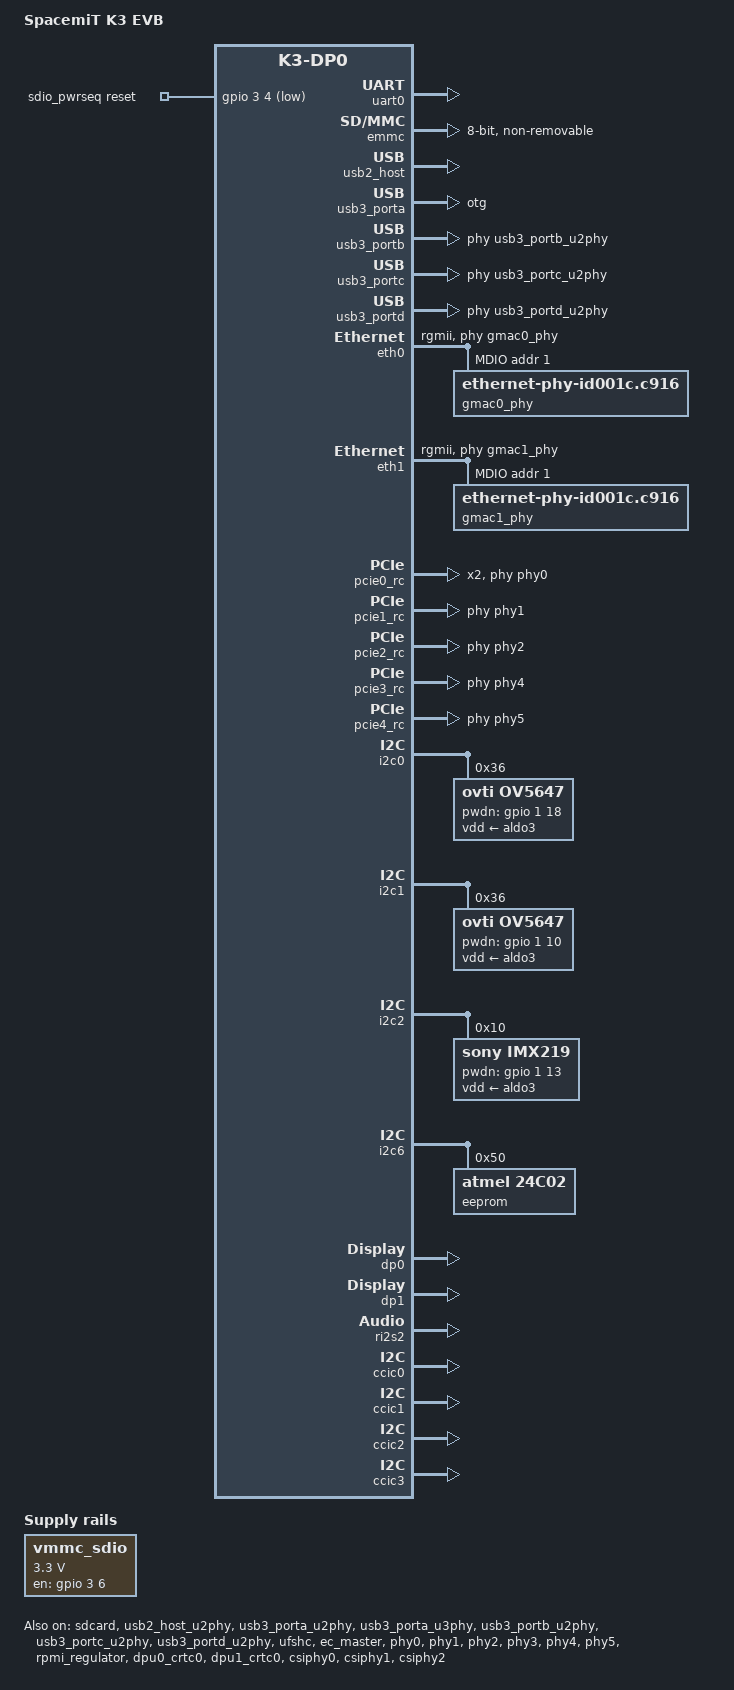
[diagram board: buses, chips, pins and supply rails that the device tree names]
// SPDX-License-Identifier: (GPL-2.0 OR MIT)
/* Copyright (c) 2025 Spacemit, Inc */

#include "k3.dtsi"
#include "k3-rdomain.dtsi"
#include "k3-pinctrl.dtsi"
#include "k3_opp_table.dtsi"
#include "lcd_dsi_panel.dtsi"
#include "lcd/lcd_icnl9911c_mipi.dtsi"
#include "k3-dp0.dtsi"
#include "k3-dp1.dtsi"
#include "k3-camera.dtsi"

/ {
	model = "SpacemiT K3 EVB";
	compatible = "spacemit,k3-evb";
	cpus: cpus {
		#address-cells = <1>;
		#size-cells = <0>;
		timebase-frequency = <24000000>;
	};

/*
	p12v: p12v {
		compatible = "regulator-fixed";
		regulator-name = "p12v";
		regulator-always-on;
		regulator-boot-on;
		regulator-min-microvolt = <12000000>;
		regulator-max-microvolt = <12000000>;
		status = "disabled";
	};

	p5v: p5v {
		compatible = "regulator-fixed";
		regulator-name = "p5v";
		regulator-always-on;
		regulator-boot-on;
		regulator-min-microvolt = <5000000>;
		regulator-max-microvolt = <5000000>;
		vin-supply = <&p12v>;
		status = "disabled";
	};

	p4v: p4v {
		compatible = "regulator-fixed";
		regulator-name = "p4v";
		regulator-always-on;
		regulator-boot-on;
		regulator-min-microvolt = <4000000>;
		regulator-max-microvolt = <4000000>;
		vin-supply = <&p12v>;
		status = "disabled";
	};

	p1v8: p1v8 {
		compatible = "regulator-fixed";
		regulator-name = "p1v8";
		regulator-always-on;
		regulator-boot-on;
		regulator-min-microvolt = <1800000>;
		regulator-max-microvolt = <1800000>;
		vin-supply = <&p12v>;
		status = "disabled";
	};

	p3v3: p3v3 {
		compatible = "regulator-fixed";
		regulator-name = "p3v3";
		regulator-always-on;
		regulator-boot-on;
		regulator-min-microvolt = <3300000>;
		regulator-max-microvolt = <3300000>;
		vin-supply = <&p12v>;
		status = "disabled";
	};
*/
	chosen {
		bootargs = "earlycon=sbi console=ttyS0,115200 loglevel=8 random.trust_bootloader=1 unaligned_scalar_speed=fast unaligned_vector_speed=fast";
		rng-seed = <0x25d69b2 0xff555073 0xd23238ea 0x57aa5455 0x792478ed 0xa744f28e 0x6ba4fc54 0xa2bf20fc>;
		stdout-path = "serial0:115200";
	};

	vmmc_sdio: regulator-vmmc-sdio {
		compatible = "regulator-fixed";
		regulator-name = "vmmc-sdio";
		regulator-min-microvolt = <3300000>;
		regulator-max-microvolt = <3300000>;
		enable-active-high;
		gpio = <&gpio 3 6 GPIO_ACTIVE_HIGH>;
	};

	sdio_pwrseq: sdio-pwrseq {
		compatible = "mmc-pwrseq-simple";

		reset-gpios = <&gpio 3 4 GPIO_ACTIVE_LOW>;
	};
};

&resmem {
	/* global autoconfigured region for contiguous allocations */
	cmamem: linux,cma {
		compatible = "shared-dma-pool";
		reusable;
		size = <0 0x20000000>;
		alloc-ranges = <1 0x40000000 0 0x20000000>;
		linux,cma-default;
	};
};

&pinctrl {
	i2c0-2-cfg {
		i2c0-0-pins {
			power-source = <1800>;
		};
	};

	i2c1-1-cfg {
		i2c1-0-pins {
			power-source = <1800>;
		};
	};

	i2c2-1-cfg {
		i2c2-0-pins {
			power-source = <1800>;
		};
	};

	i2c3-2-cfg {
		i2c3-0-pins {
			power-source = <3300>;
		};
	};

	i2c6-0-cfg {
		i2c6-0-pins {
			power-source = <1800>;
		};
	};

	uart2-0-cfg {
		uart2-0-pins {
			power-source = <1800>;
		};
	};

	ssp0-2-cfg  {
		ssp0-0-pins {
			power-source = <3300>;
		};

		ssp0-1-pins {
			power-source = <3300>;
		};
	};

	usb20_host_drv-3-cfg {
		usb20_host_drv-pins {
			power-source  = <1800>;
		};
	};

	usb30_drd-id-vbus-cfg {
		usb30_drd-pins {
			pinmux = <K3_PADCONF(116, 2)>,	/* usb30 drd id */
				 <K3_PADCONF(117, 2)>;	/* usb30 drd vbuson */

			bias-pull-down;			/* normal pull-down */
			drive-strength = <47>;		/* DS8 */
		};
	};

	gmac0-cfg {
		/delete-node/ gmac0-2-pins;
		/delete-node/ gmac0-4-pins;
		/delete-node/ gmac0-5-pins;

		gmac0-0-pins {
			power-source = <1800>;
		};

		gmac0-1-pins {
			power-source = <1800>;
		};

		gmac0-3-pins {
			power-source = <1800>;
		};

		gmac0-6-pins {
			pinmux = <K3_PADCONF(15, 0)>;

			bias-disable;
			drive-strength = <25>;
			power-source = <1800>;
		};
	};

	gmac1-cfg {
		/delete-node/ gmac1-2-pins;
		/delete-node/ gmac1-4-pins;
		/delete-node/ gmac1-5-pins;

		gmac1-0-pins {
			power-source = <1800>;
		};

		gmac1-1-pins {
			power-source = <1800>;
		};

		gmac1-3-pins {
			power-source = <1800>;
		};

		gmac1-6-pins {
			pinmux = <K3_PADCONF(37, 0)>;

			bias-disable;
			drive-strength = <25>;
			power-source = <1800>;
		};
	};

	gmac2-cfg {
		/delete-node/ gmac2-3-pins;
		/delete-node/ gmac2-4-pins;

		gmac2-0-pins {
			power-source = <1800>;
		};

		gmac2-1-pins {
			power-source = <1800>;
		};

		gmac2-2-pins {
			power-source = <1800>;
		};

		gmac2-5-pins {
			pinmux = <K3_PADCONF(58, 0)>;

			bias-disable;
			drive-strength = <25>;
			power-source = <1800>;
		};
	};

	gmac3-cfg {
		/delete-node/ gmac3-3-pins;
		/delete-node/ gmac3-4-pins;

		gmac3-0-pins {
			power-source = <1800>;
		};

		gmac3-1-pins {
			power-source = <1800>;
		};

		gmac3-2-pins {
			power-source = <1800>;
		};

		gmac3-5-pins {
			pinmux = <K3_PADCONF(75, 0)>;

			bias-disable;
			drive-strength = <25>;
			power-source = <1800>;
		};
	};

	mmc2-cfg {
		mmc2-0-pins {
			power-source = <1800>;
		};

		mmc2-1-pins {
			power-source = <1800>;
		};
	};

	pcie0-1-cfg {
		pcie0-0-pins {
			bias-pull-up = <1>;		/* pull up */
			drive-strength = <38>;		/* DS15 */
			power-source = <3300>;
		};
	};

	pcie1-1-cfg {
		pcie1-0-pins {
			bias-pull-up;			/* pull up */
			drive-strength = <38>;		/* DS15 */
			power-source = <3300>;
		};
	};

	pcie2-2-cfg {
		pcie2-0-pins {
			bias-pull-up;			/* pull up  */
			drive-strength = <33>;		/* DS15 */
			power-source = <1800>;
		};
	};

	pcie3-1-cfg {
		pcie3-0-pins {
			bias-pull-up;			/* pull up  */
			drive-strength = <33>;		/* DS15 */
			power-source = <1800>;
		};
	};

	pcie4-1-cfg {
		pcie4-0-pins {
			bias-pull-up;			/* pull up */
			drive-strength = <38>;		/* DS15 */
			power-source = <3300>;
		};
	};
};

&uart0 {
	pinctrl-names = "default";
	pinctrl-0 = <&uart0_0_cfg>;
	status = "okay";
};

&uart2 {
	pinctrl-names = "default";
	pinctrl-0 = <&uart2_0_cfg>;
	status = "disabled";

	bluetooth {
		compatible = "realtek,rtl8852bs-bt";
		device-wake-gpios = <&gpio 2 30 GPIO_ACTIVE_HIGH>;
		enable-gpios = <&gpio 2 29 GPIO_ACTIVE_HIGH>;
		host-wake-gpios = <&gpio 2 28 GPIO_ACTIVE_HIGH>;
	};
};

&qspi {
	status = "disabled";
};

&sdcard {
	pinctrl-names = "default","uhs","debug";
	pinctrl-0 = <&mmc1_cfg>;
	pinctrl-1 = <&mmc1_uhs_cfg>;
	pinctrl-2 = <&mmc1_debug_cfg>;
	bus-width = <4>;
	wp-inverted;
	cd-gpios = <&gpio 2 22 GPIO_ACTIVE_LOW>;
	vmmc-supply = <&p3v3>;
	vqmmc-supply = <&aldo1>;
	no-mmc;
	no-sdio;
	clock-frequency = <204800000>;
	spacemit,tx_delaycode = <0x1f>;
	status = "okay";
};

&sdio {
	pinctrl-names = "default";
	pinctrl-0 = <&mmc2_cfg>;
	bus-width = <4>;
	non-removable;
	vmmc-supply = <&vmmc_sdio>;
	vqmmc-supply = <&p1v8>;
	mmc-pwrseq = <&sdio_pwrseq>;
	no-mmc;
	no-sd;
	keep-power-in-suspend;
	clock-frequency = <375000000>;
	status = "disabled";
};

&emmc {
	bus-width = <8>;
	non-removable;
	mmc-hs400-1_8v;
	mmc-hs400-enhanced-strobe;
	no-sd;
	no-sdio;
	clock-frequency = <375000000>;
	status = "okay";
};

&usb2_host_u2phy {
	status = "okay";
};

&usb2_host {
	pinctrl-names = "default";
	pinctrl-0 = <&usb20_host_drv_3_cfg>; /* GPIO103 */
	status = "okay";
};

&usb3_porta_u2phy {
	status = "okay";
};

&usb3_porta_u3phy {
	// pinctrl-names = "default";
	// pinctrl-0 = <&usb30_drd_int_1_cfg>, /* GPIO119 J12511 */
	// 	    <&usb30_drd_dir_0_cfg>, /* GPIO86 J12512 */
	// 	    <&usb30_drd_id_vbus_cfg>; /* GPIO116 J12602, GPIO117 J12515 */
	status = "okay";
};

&usb3_porta {
	dr_mode = "otg";
	/* Bringup stage, only enable USB2 phy */
	maximum-speed = "high-speed";
	usb-role-switch;
	role-switch-default-mode = "peripheral";
	status = "okay";
};

&usb3_portb_u2phy {
	status = "okay";
};

&usb3_portb_u3phy {
	status = "disabled";
};

&usb3_portb {
	/* Bringup stage, only enable USB2 phy */
	/delete-property/ phys;
	/delete-property/ phy-names;
	maximum-speed = "high-speed";
	phys = <&usb3_portb_u2phy>;
	phy-names = "usb2-phy";
	status = "okay";
};

&usb3_portc_u2phy {
	status = "okay";
};

&usb3_portc_u3phy {
	status = "disabled";
};

&usb3_portc {
	/* Bringup stage, only enable USB2 phy */
	/delete-property/ phys;
	/delete-property/ phy-names;
	maximum-speed = "high-speed";
	phys = <&usb3_portc_u2phy>;
	phy-names = "usb2-phy";
	status = "okay";
};

&usb3_portd_u2phy {
	status = "okay";
};

&usb3_portd_u3phy {
	status = "disabled";
};

&usb3_portd {
	/* Bringup stage, only enable USB2 phy */
	/delete-property/ phys;
	/delete-property/ phy-names;
	maximum-speed = "high-speed";
	phys = <&usb3_portd_u2phy>;
	phy-names = "usb2-phy";
	status = "okay";
};

&ufshc {
	status = "okay";
};

&ec_master {
	status = "okay";
};

&eth0 {
	pinctrl-names = "default";
	pinctrl-0 = <&gmac0_cfg>;

	max-speed = <1000>;
	phy-mode = "rgmii";
	phy-handle = <&gmac0_phy>;
	snps,reset-gpios = <&gpio 0 15 GPIO_ACTIVE_LOW>;
	snps,reset-delays-us = <0 20000 100000>;

	spacemit,wake-irq-enable;

	spacemit,clk-tuning-enable;
	spacemit,clk-tuning-by-delayline;
	spacemit,tx-phase = <65>;
	spacemit,rx-phase = <50>;

	status = "okay";

	mdio {
		#address-cells = <1>;
		#size-cells = <0>;
		compatible = "snps,dwmac-mdio";

		gmac0_phy: ethernet-phy@1 {
			compatible = "ethernet-phy-id001c.c916",
				     "ethernet-phy-ieee802.3-c22";
			reg = <1>;
			device_type = "ethernet-phy";

			leds {
				#address-cells = <1>;
				#size-cells = <0>;

				led@1 {
					reg = <1>;
					function = LED_FUNCTION_LAN;
					color = <LED_COLOR_ID_GREEN>;
					default-state = "keep";
				};

				led@2 {
					reg = <2>;
					function = LED_FUNCTION_LAN;
					color = <LED_COLOR_ID_YELLOW>;
					default-state = "keep";
				};
			};
		};
	};
};

&eth1 {
	pinctrl-names = "default";
	pinctrl-0 = <&gmac1_cfg>;

	max-speed = <1000>;
	phy-mode = "rgmii";
	phy-handle = <&gmac1_phy>;
	snps,reset-gpios = <&gpio 1 5 GPIO_ACTIVE_LOW>;
	snps,reset-delays-us = <0 20000 100000>;

	spacemit,wake-irq-enable;

	spacemit,clk-tuning-enable;
	spacemit,clk-tuning-by-delayline;
	spacemit,tx-phase = <58>;
	spacemit,rx-phase = <70>;

	status = "okay";

	mdio {
		#address-cells = <1>;
		#size-cells = <0>;
		compatible = "snps,dwmac-mdio";

		gmac1_phy: ethernet-phy@1 {
			compatible = "ethernet-phy-id001c.c916",
				     "ethernet-phy-ieee802.3-c22";
			reg = <1>;
			device_type = "ethernet-phy";

			leds {
				#address-cells = <1>;
				#size-cells = <0>;

				led@1 {
					reg = <1>;
					function = LED_FUNCTION_LAN;
					color = <LED_COLOR_ID_GREEN>;
					default-state = "keep";
				};

				led@2 {
					reg = <2>;
					function = LED_FUNCTION_LAN;
					color = <LED_COLOR_ID_YELLOW>;
					default-state = "keep";
				};
			};
		};
	};
};

&eth2 {
	pinctrl-names = "default";
	pinctrl-0 = <&gmac2_cfg>;

	max-speed = <1000>;
	phy-mode = "rgmii";
	phy-handle = <&gmac2_phy>;
	snps,reset-gpios = <&gpio 1 26 GPIO_ACTIVE_LOW>;
	snps,reset-delays-us = <0 20000 100000>;

	spacemit,wake-irq-enable;

	spacemit,clk-tuning-enable;
	spacemit,clk-tuning-by-delayline;
	spacemit,tx-phase = <53>;
	spacemit,rx-phase = <52>;

	status = "disabled";

	mdio {
		#address-cells = <1>;
		#size-cells = <0>;
		compatible = "snps,dwmac-mdio";

		gmac2_phy: ethernet-phy@1 {
			compatible = "ethernet-phy-id001c.c916",
				     "ethernet-phy-ieee802.3-c22";
			reg = <1>;
			device_type = "ethernet-phy";

			leds {
				#address-cells = <1>;
				#size-cells = <0>;

				led@1 {
					reg = <1>;
					function = LED_FUNCTION_LAN;
					color = <LED_COLOR_ID_GREEN>;
					default-state = "keep";
				};

				led@2 {
					reg = <2>;
					function = LED_FUNCTION_LAN;
					color = <LED_COLOR_ID_YELLOW>;
					default-state = "keep";
				};
			};
		};
	};
};

&eth3 {
	pinctrl-names = "default";
	pinctrl-0 = <&gmac3_cfg>;

	max-speed = <1000>;
	phy-mode = "rgmii";
	phy-handle = <&gmac3_phy>;
	snps,reset-gpios = <&gpio 2 11 GPIO_ACTIVE_LOW>;
	snps,reset-delays-us = <0 20000 100000>;

	spacemit,wake-irq-enable;

	spacemit,clk-tuning-enable;
	spacemit,clk-tuning-by-delayline;
	spacemit,tx-phase = <51>;
	spacemit,rx-phase = <54>;

	status = "disabled";

	mdio {
		#address-cells = <1>;
		#size-cells = <0>;
		compatible = "snps,dwmac-mdio";

		gmac3_phy: ethernet-phy@1 {
			compatible = "ethernet-phy-id001c.c916",
				     "ethernet-phy-ieee802.3-c22";
			reg = <1>;
			device_type = "ethernet-phy";

			leds {
				#address-cells = <1>;
				#size-cells = <0>;

				led@1 {
					reg = <1>;
					function = LED_FUNCTION_LAN;
					color = <LED_COLOR_ID_GREEN>;
					default-state = "keep";
				};

				led@2 {
					reg = <2>;
					function = LED_FUNCTION_LAN;
					color = <LED_COLOR_ID_YELLOW>;
					default-state = "keep";
				};
			};
		};
	};
};

&phy0{
	status = "okay";
};

&phy1{
	status = "okay";
};

&phy2{
	status = "okay";
};

&phy3{
	status = "okay";
};

&phy4{
	status = "okay";
};

&phy5{
	status = "okay";
};

&pcie0_rc {
	pinctrl-names = "default";
	pinctrl-0 = <&pcie0_1_cfg>;
	phys = <&phy0>;
	phy-names = "phy0";

	num-lanes = <2>;
	status = "okay";
};

&pcie1_rc {
	pinctrl-names = "default";
	pinctrl-0 = <&pcie1_1_cfg>;
	phys = <&phy1>;
	phy-names = "phy0";

	status = "okay";
};

&pcie2_rc {
	pinctrl-names = "default";
	pinctrl-0 = <&pcie2_2_cfg>;
	phys = <&phy2>, <&phy3>;
	phy-names = "phy0", "phy1";

	status = "okay";
};

&pcie3_rc {
	pinctrl-names = "default";
	pinctrl-0 = <&pcie3_1_cfg>;
	phys = <&phy4>;
	phy-names = "phy0";

	status = "okay";
};

&pcie4_rc {
	pinctrl-names = "default";
	pinctrl-0 = <&pcie4_1_cfg>;
	phys = <&phy5>;
	phy-names = "phy0";

	status = "okay";
};

&thermal_zones {
	thermal_top {
		polling-delay = <1000>;
		polling-delay-passive = <250>;
		thermal-sensors = <&thermal 0>;

		trips {
			thermal_top_trip0: thermal_top-trip0 {
				temperature = <40000>;
				hysteresis = <5000>;
				type = "passive";
			};
		};
	};

	thermal_vpu {
		polling-delay = <1000>;
		polling-delay-passive = <250>;
		thermal-sensors = <&thermal 2>;

		trips {
			thermal_vpu_trip0: thermal_vpu-trip0 {
				temperature = <40000>;
				hysteresis = <5000>;
				type = "passive";
			};
		};
	};

	thermal_gpu {
		polling-delay = <1000>;
		polling-delay-passive = <500>;
		thermal-sensors = <&thermal 3>;

		trips {
			gpu_alert0: gpu-alert0 {
				temperature = <65000>;
				hysteresis = <2000>;
				type = "passive";
			};

			gpu_alert1: gpu-alert1 {
				temperature = <75000>;
				hysteresis = <2000>;
				type = "passive";
			};

			gpu_alert2: gpu-alert2 {
				temperature = <85000>;
				hysteresis = <2000>;
				type = "passive";
			};

			gpu_crit: gpu-crit {
				temperature = <115000>;
				hysteresis = <2000>;
				type = "critical";
			};
		};

		cooling-maps {
			map0 {
				trip = <&gpu_alert0>;
				cooling-device = <&imggpu 0 1>;
			};

			map1 {
				trip = <&gpu_alert1>;
				cooling-device = <&imggpu 1 2>;
			};

			map2 {
				trip = <&gpu_alert2>;
				cooling-device = <&imggpu 2 3>;
			};
		};
	};

	thermal_cluster0 {
		polling-delay = <1000>;
		polling-delay-passive = <250>;
		thermal-sensors = <&thermal 4>;

		trips {
			thermal_cluster0_trip0: thermal_cluster0-trip0 {
				temperature = <35000>;
				hysteresis = <5000>;
				type = "active";
			};
		};
	};

	thermal_cluster1 {
		polling-delay = <1000>;
		polling-delay-passive = <250>;
		thermal-sensors = <&thermal 5>;

		trips {
			thermal_cluster1_trip0: thermal_cluster1-trip0 {
				temperature = <85000>;
				hysteresis = <2000>;
				type = "active";
			};

			thermal_cluster1_trip1: thermal_cluster1-trip1 {
				temperature = <95000>;
				hysteresis = <2000>;
				type = "passive";
			};

			thermal_cluster1_trip2: thermal_cluster1-trip2 {
				temperature = <105000>;
				hysteresis = <2000>;
				type = "passive";
			};

			thermal_cluster1_trip3: thermal_cluster1-trip3 {
				temperature = <115000>;
				hysteresis = <2000>;
				type = "critical";
			};
		};

		cooling-maps {
			map0 {
				trip = <&thermal_cluster1_trip0>;
				cooling-device = <&cpu_0 2 2>,
						<&cpu_1 2 2>,
						<&cpu_2 2 2>,
						<&cpu_3 2 2>,
						<&cpu_4 2 2>,
						<&cpu_5 2 2>,
						<&cpu_6 2 2>,
						<&cpu_7 2 2>;
			};

			map1 {
				trip = <&thermal_cluster1_trip1>;
				cooling-device = <&cpu_0 3 5>,
						<&cpu_1 3 5>,
						<&cpu_2 3 5>,
						<&cpu_3 3 5>,
						<&cpu_4 3 5>,
						<&cpu_5 3 5>,
						<&cpu_6 3 5>,
						<&cpu_7 3 5>;
			};

			map2 {
				trip = <&thermal_cluster1_trip2>;
				cooling-device = <&cpu_0 6 8>,
						<&cpu_1 6 8>,
						<&cpu_2 6 8>,
						<&cpu_3 6 8>,
						<&cpu_4 6 8>,
						<&cpu_5 6 8>,
						<&cpu_6 6 8>,
						<&cpu_7 6 8>;
			};
		};
	};

	thermal_cluster2 {
		polling-delay = <1000>;
		polling-delay-passive = <250>;
		thermal-sensors = <&thermal 6>;

		trips {
			thermal_cluster2_trip0: thermal_cluster2-trip0 {
				temperature = <85000>;
				hysteresis = <2000>;
				type = "active";
			};

			thermal_cluster2_trip1: thermal_cluster2-trip1 {
				temperature = <95000>;
				hysteresis = <2000>;
				type = "passive";
			};

			thermal_cluster2_trip2: thermal_cluster2-trip2 {
				temperature = <105000>;
				hysteresis = <2000>;
				type = "passive";
			};

			thermal_cluster2_trip3: thermal_cluster2-trip3 {
				temperature = <115000>;
				hysteresis = <2000>;
				type = "critical";
			};
		};

		cooling-maps {
			map0 {
				trip = <&thermal_cluster2_trip0>;
				cooling-device = <&cpu_8 3 3>,
						<&cpu_9 3 3>,
						<&cpu_10 3 3>,
						<&cpu_11 3 3>,
						<&cpu_12 3 3>,
						<&cpu_13 3 3>,
						<&cpu_14 3 3>,
						<&cpu_15 3 3>;
			};

			map1 {
				trip = <&thermal_cluster2_trip1>;
				cooling-device = <&cpu_8 4 5>,
						<&cpu_9 4 5>,
						<&cpu_10 4 5>,
						<&cpu_11 4 5>,
						<&cpu_12 4 5>,
						<&cpu_13 4 5>,
						<&cpu_14 4 5>,
						<&cpu_15 4 5>;
			};

			map2 {
				trip = <&thermal_cluster2_trip2>;
				cooling-device = <&cpu_8 6 8>,
						<&cpu_9 6 8>,
						<&cpu_10 6 8>,
						<&cpu_11 6 8>,
						<&cpu_12 6 8>,
						<&cpu_13 6 8>,
						<&cpu_14 6 8>,
						<&cpu_15 6 8>;
			};
		};
	};

	thermal_cluster3 {
		polling-delay = <1000>;
		polling-delay-passive = <250>;
		thermal-sensors = <&thermal 7>;

		trips {
			thermal_cluster7_trip0: thermal_cluster7-trip0 {
				temperature = <40000>;
				hysteresis = <5000>;
				type = "passive";
			};
		};
	};
};

&rpmi_regulator {
	status = "okay";
	pinctrl-names = "default";
	pinctrl-0 = <&i2c8_cfg_rcpu>;

	pvin: pvin {
		regulator-min-microvolt = <5000000>;
		regulator-max-microvolt = <5000000>;
		regulator-always-on;
		regulator-boot-on;
	};

	edcdc2: edcdc2 {
		regulator-min-microvolt = <800000>;
		regulator-max-microvolt = <800000>;
		regulator-always-on;
		regulator-boot-on;
	};

	edcdc1: edcdc1 {
		regulator-min-microvolt = <534000>;
		regulator-max-microvolt = <10000000>;
		regulator-always-on;
		regulator-boot-on;
	};

	p3v3: p3v3 {
		regulator-min-microvolt = <3300000>;
		regulator-max-microvolt = <3300000>;
		regulator-always-on;
		regulator-boot-on;
	};

	p1v8: p1v8 {
		regulator-min-microvolt = <1800000>;
		regulator-max-microvolt = <1800000>;
		regulator-always-on;
		regulator-boot-on;
	};

	dcdc1: dcdc1 {
		regulator-min-microvolt = <1050000>;
		regulator-max-microvolt = <1050000>;
		regulator-always-on;
		regulator-boot-on;
	};

	dcdc3: dcdc3 {
		regulator-min-microvolt = <800000>;
		regulator-max-microvolt = <800000>;
		regulator-always-on;
		regulator-boot-on;
	};

	dcdc4: dcdc4 {
		regulator-min-microvolt = <2100000>;
		regulator-max-microvolt = <2100000>;
		regulator-always-on;
		regulator-boot-on;
	};

	dcdc5: dcdc5 {
		regulator-min-microvolt = <1800000>;
		regulator-max-microvolt = <1800000>;
		regulator-always-on;
		regulator-boot-on;
	};

	dcdc6: dcdc6 {
		regulator-min-microvolt = <500000>;
		regulator-max-microvolt = <600000>;
		regulator-always-on;
		regulator-boot-on;
	};

	aldo1: aldo1 {
		regulator-min-microvolt = <1800000>;
		regulator-max-microvolt = <3300000>;
		regulator-always-on;
		regulator-boot-on;
	};

	aldo2: aldo2 {
		regulator-min-microvolt = <1800000>;
		regulator-max-microvolt = <1800000>;
		regulator-always-on;
		regulator-boot-on;
	};

	aldo3: aldo3 {
		regulator-min-microvolt = <500000>;
		regulator-max-microvolt = <3400000>;
	};

	aldo4: aldo4 {
		regulator-min-microvolt = <3300000>;
		regulator-max-microvolt = <3300000>;
		regulator-always-on;
		regulator-boot-on;
	};

	dldo1: dldo1 {
		regulator-min-microvolt = <1200000>;
		regulator-max-microvolt = <1200000>;
		regulator-always-on;
		regulator-boot-on;
	};

	dldo2: dldo2 {
		regulator-min-microvolt = <900000>;
		regulator-max-microvolt = <900000>;
		regulator-always-on;
		regulator-boot-on;
	};

	dldo3: dldo3 {
		regulator-min-microvolt = <800000>;
		regulator-max-microvolt = <800000>;
		regulator-always-on;
		regulator-boot-on;
	};

	dldo4: dldo4 {
		regulator-min-microvolt = <1800000>;
		regulator-max-microvolt = <1800000>;
		regulator-always-on;
		regulator-boot-on;
	};

	dldo5: dldo5 {
		regulator-min-microvolt = <1800000>;
		regulator-max-microvolt = <1800000>;
		regulator-always-on;
		regulator-boot-on;
	};

	dldo6: dldo6 {
		regulator-min-microvolt = <1800000>;
		regulator-max-microvolt = <1800000>;
		regulator-always-on;
		regulator-boot-on;
	};

	dldo7: dldo7 {
		regulator-min-microvolt = <1800000>;
		regulator-max-microvolt = <1800000>;
		regulator-always-on;
		regulator-boot-on;
	};

	pwr_x100: pwr_x100 {
		regulator-min-microvolt = <3300000>;
		regulator-max-microvolt = <3300000>;
		regulator-always-on;
		regulator-boot-on;
	};

	pwr_a100: pwr_a100 {
		regulator-min-microvolt = <3300000>;
		regulator-max-microvolt = <3300000>;
		regulator-always-on;
		regulator-boot-on;
	};

	pwr_ext: pwr_ext {
		regulator-min-microvolt = <3300000>;
		regulator-max-microvolt = <3300000>;
		regulator-always-on;
		regulator-boot-on;
	};
};

&i2c0 {
	pinctrl-names = "default";
	pinctrl-0 = <&i2c0_2_cfg>;
	status = "okay";

	ov5647@36 {
		compatible = "ovti,ov5647";
		reg = <0x36>;
		csi-id = <0>;
		vdd-supply = <&aldo3>;
		pwdn-gpios = <&gpio 1 18 GPIO_ACTIVE_HIGH>;
		status = "okay";
	};
};


&i2c1 {
	pinctrl-names = "default";
	pinctrl-0 = <&i2c1_1_cfg>;
	status = "okay";

	ov5647@36 {
		compatible = "ovti,ov5647";
		reg = <0x36>;
		csi-id = <1>;
		vdd-supply = <&aldo3>;
		pwdn-gpios = <&gpio 1 10 GPIO_ACTIVE_HIGH>;
		status = "okay";
	};
};

&i2c2 {
	pinctrl-names = "default";
	pinctrl-0 = <&i2c2_1_cfg>;
	status = "okay";

	imx219@10 {
		compatible = "sony,imx219";
		reg = <0x10>;
		csi-id = <2>;
		vdd-supply = <&aldo3>;
		pwdn-gpios = <&gpio 1 13 GPIO_ACTIVE_HIGH>;
		status = "okay";
	};
};

&i2c6 {
	pinctrl-names = "default";
	pinctrl-0 = <&i2c6_0_cfg>;
	status = "okay";

	eeprom@50 {
		compatible = "atmel,24c02";
		reg = <0x50>;
		read-only;
		status = "okay";

		nvmem-layout {
			compatible = "onie,tlv-layout";

			product_name: product-name {
			};
		};
	};
};

/*
&i2c8 {
	pinctrl-names = "default";
	pinctrl-0 = <&i2c8_cfg>;
	status = "disabled";

	p1@41 {
		compatible = "spacemit,p1";
		reg = <0x41>;
		status = "disabled";

		vcc-supply = <&p4v>;

		regulators {
			compatible = "spacemit-p1-regulator";

			buck1: buck1 {
				regulator-min-microvolt = <1050000>;
				regulator-max-microvolt = <1050000>;
				regulator-ramp-delay = <5000>;
				regulator-always-on;
				regulator-boot-on;
			};

			buck2: buck2 {
				regulator-min-microvolt = <1050000>;
				regulator-max-microvolt = <1050000>;
				regulator-ramp-delay = <5000>;
				regulator-always-on;
				regulator-boot-on;
			};

			buck3: buck3 {
				regulator-min-microvolt = <800000>;
				regulator-max-microvolt = <800000>;
				regulator-ramp-delay = <5000>;
				regulator-always-on;
				regulator-boot-on;
			};

			buck4: buck4 {
				regulator-min-microvolt = <2100000>;
				regulator-max-microvolt = <2100000>;
				regulator-ramp-delay = <5000>;
				regulator-always-on;
				regulator-boot-on;
			};

			buck5: buck5 {
				regulator-min-microvolt = <1800000>;
				regulator-max-microvolt = <1800000>;
				regulator-ramp-delay = <5000>;
				regulator-always-on;
				regulator-boot-on;
			};

			buck6: buck6 {
				regulator-min-microvolt = <500000>;
				regulator-max-microvolt = <500000>;
				regulator-ramp-delay = <5000>;
				regulator-always-on;
				regulator-boot-on;
			};

			aldo1: aldo1 {
				regulator-min-microvolt = <1800000>;
				regulator-max-microvolt = <3300000>;
				regulator-always-on;
				regulator-boot-on;
			};

			aldo2: aldo2 {
				regulator-min-microvolt = <1800000>;
				regulator-max-microvolt = <1800000>;
				regulator-always-on;
				regulator-boot-on;
			};

			aldo3: aldo3 {
				regulator-min-microvolt = <500000>;
				regulator-max-microvolt = <3400000>;
			};

			aldo4: aldo4 {
				regulator-min-microvolt = <3300000>;
				regulator-max-microvolt = <3300000>;
				regulator-always-on;
				regulator-boot-on;
			};

			dldo1: dldo1 {
				regulator-min-microvolt = <1200000>;
				regulator-max-microvolt = <1200000>;
				regulator-always-on;
				regulator-boot-on;
			};

			dldo2: dldo2 {
				regulator-min-microvolt = <900000>;
				regulator-max-microvolt = <900000>;
				regulator-always-on;
				regulator-boot-on;
			};

			dldo3: dldo3 {
				regulator-min-microvolt = <800000>;
				regulator-max-microvolt = <800000>;
				regulator-always-on;
				regulator-boot-on;
			};

			dldo4: dldo4 {
				regulator-min-microvolt = <1800000>;
				regulator-max-microvolt = <1800000>;
				regulator-always-on;
				regulator-boot-on;
			};

			dldo5: dldo5 {
				regulator-min-microvolt = <1800000>;
				regulator-max-microvolt = <1800000>;
				regulator-always-on;
				regulator-boot-on;
			};

			dldo6: dldo6 {
				regulator-min-microvolt = <1800000>;
				regulator-max-microvolt = <1800000>;
				regulator-always-on;
				regulator-boot-on;
			};

			dldo7: dldo7 {
				regulator-min-microvolt = <1800000>;
				regulator-max-microvolt = <1800000>;
				regulator-always-on;
				regulator-boot-on;
			};
		};
	};

	mpq8655: mpq8655@30 {
		compatible = "spacemit,mpq8655";
		reg = <0x30>;

		vcc-supply = <&p12v>;

		regulators {
			compatible = "spacemit,regulator,mpq8655";

			edcdc1: edcdc1 {
				regulator-min-microvolt = <534000>;
				regulator-max-microvolt = <1000000>;
				regulator-ramp-delay = <10>;
				regulator-always-on;
				regulator-boot-on;
			};
		};
	};
};
*/

&dpu_crtc0 {
	memory-region = <&dpu_resv0>;
	status = "disabled";
};

&dpu_crtc1 {
	memory-region = <&dpu_resv1>;
	status = "disabled";
};

&dsi0 {
	status = "disabled";

	panel0: panel0@0 {
		status = "ok";
		compatible = "spacemit,mipi-panel";
		reg = <0>;
		reset-gpios = <&gpio 1 31 GPIO_ACTIVE_HIGH>;
		bl-gpios = <&gpio 1 29 GPIO_ACTIVE_HIGH>;
		dc0-gpios = <&gpio 1 24 GPIO_ACTIVE_HIGH>;
		dc1-gpios = <&gpio 1 25 GPIO_ACTIVE_HIGH>;
		id = <2>;
		force-attached = "lcd_icnl9911c_mipi";
	};
};

&lcds {
	status = "disabled";
};

&dpu0_crtc0 {
	memory-region = <&dpu_resv0>;
	status = "okay";
};

&dp0 {
	pinctrl-names = "default";
	pinctrl-0 = <&dp0_2_cfg>;
	status = "okay";
};

&dpu1_crtc0 {
	memory-region = <&dpu_resv1>;
	status = "okay";
};

&dp1 {
	pinctrl-names = "default";
	pinctrl-0 = <&dp1_4_cfg>;
	status = "okay";
};

&adma2 {
	status = "okay";
};

&ri2s2 {
	status = "okay";
};

&sound_card_dp0 {
	status = "okay";
	simple-audio-card,name = "snd-dp0";
	simple-audio-card,mclk-fs = <512>;
	simple-audio-card,dai-link@0 {
		format = "left_j";
		frame-master = <&dp0_link_cpu>;
		bitclock-master = <&dp0_link_cpu>;
		dp0_link_codec: codec {
			playback-only;
			sound-dai = <&dp0>;
		};
	};
};

&ccic0 {
	status = "okay";
};

&ccic1 {
	status = "okay";
};

&ccic2 {
	status = "okay";
};

&ccic3 {
	status = "okay";
};

&csiphy0 {
	status = "okay";
};

&csiphy1 {
	status = "okay";
};

&csiphy2 {
	status = "okay";
};
